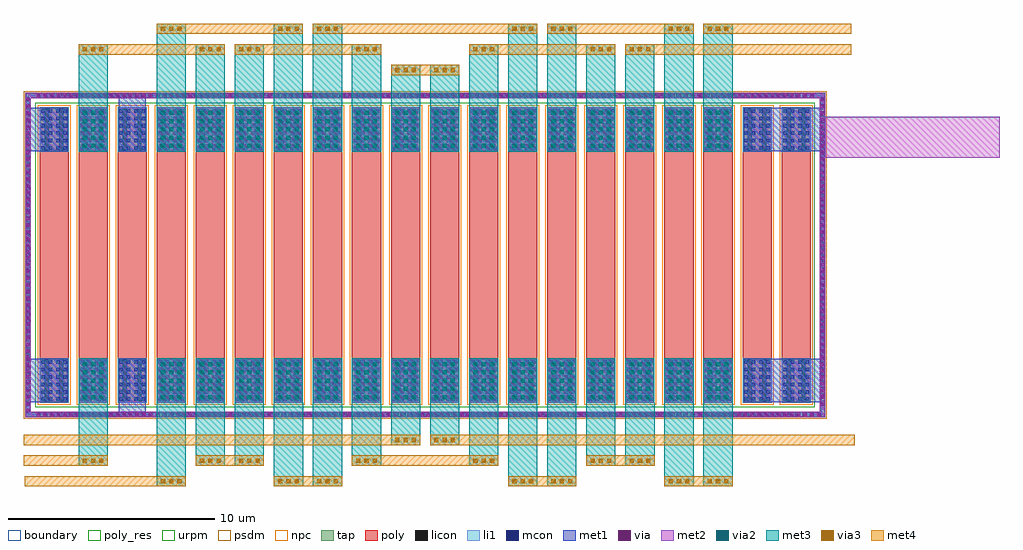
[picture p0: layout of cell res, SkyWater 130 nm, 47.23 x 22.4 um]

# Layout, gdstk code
import gdstk
lib = gdstk.Library(unit=1e-6, precision=1e-09)
def R(c, l, rs):  # rectangles x0, y0, x1, y1
    for r in rs: c.add(gdstk.rectangle(r[:2], r[2:], *l))
def A(c, l, x, y, w, h, nx, ny, dx, dy):  # array of equal rectangles
    R(c, l, [(x+i*dx, y+j*dy, x+i*dx+w, y+j*dy+h) for i in range(nx) for j in range(ny)])
def P(c, l, *ps):  # polygons
    for p in ps: c.add(gdstk.Polygon(p, *l))
tap = (65, 44)
poly_res = (66, 13)
poly = (66, 20)
licon = (66, 44)
li1 = (67, 20)
mcon = (67, 44)
met1 = (68, 20)
via = (68, 44)
met2 = (69, 20)
via2 = (69, 44)
met3 = (70, 20)
via3 = (70, 44)
met4 = (71, 20)
urpm = (79, 20)
psdm = (94, 20)
npc = (95, 20)
boundary = (235, 4)

res = lib.new_cell('res')
R(res, tap, [(-0.135,0.015,38.485,0.185), (-0.135,0.185,0.035,15.465), (38.315,0.185,38.485,15.465), (-0.135,15.465,38.485,15.635)])
A(res, poly_res, 0.515, 2.765, 1.41, 10.12, 20, 1, 1.89, 0)
A(res, poly, 0.515, 0.665, 1.41, 14.32, 20, 1, 1.89, 0)
A(res, licon, 0.39, 0.015, 0.17, 0.17, 111, 2, 0.34, 15.45)
A(res, licon, -0.135, 0.6, 0.17, 0.17, 1, 43, 0, 0.34)
A(res, licon, 38.315, 0.6, 0.17, 0.17, 1, 43, 0, 0.34)
R(res, licon, [(0.77,0.745,0.96,2.745), (1.48,0.745,1.67,2.745), (2.66,0.745,2.85,2.745), (3.37,0.745,3.56,2.745), (4.55,0.745,4.74,2.745), (5.26,0.745,5.45,2.745), (6.44,0.745,6.63,2.745), (7.15,0.745,7.34,2.745), (8.33,0.745,8.52,2.745), (9.04,0.745,9.23,2.745), (10.22,0.745,10.41,2.745), (10.93,0.745,11.12,2.745), (12.11,0.745,12.3,2.745), (12.82,0.745,13.01,2.745), (14,0.745,14.19,2.745), (14.71,0.745,14.9,2.745), (15.89,0.745,16.08,2.745), (16.6,0.745,16.79,2.745), (17.78,0.745,17.97,2.745), (18.49,0.745,18.68,2.745), (19.67,0.745,19.86,2.745), (20.38,0.745,20.57,2.745), (21.56,0.745,21.75,2.745), (22.27,0.745,22.46,2.745), (23.45,0.745,23.64,2.745), (24.16,0.745,24.35,2.745), (25.34,0.745,25.53,2.745), (26.05,0.745,26.24,2.745), (27.23,0.745,27.42,2.745), (27.94,0.745,28.13,2.745), (29.12,0.745,29.31,2.745), (29.83,0.745,30.02,2.745), (31.01,0.745,31.2,2.745), (31.72,0.745,31.91,2.745), (32.9,0.745,33.09,2.745), (33.61,0.745,33.8,2.745), (34.79,0.745,34.98,2.745), (35.5,0.745,35.69,2.745), (36.68,0.745,36.87,2.745), (37.39,0.745,37.58,2.745), (0.77,12.905,0.96,14.905), (1.48,12.905,1.67,14.905), (2.66,12.905,2.85,14.905), (3.37,12.905,3.56,14.905), (4.55,12.905,4.74,14.905), (5.26,12.905,5.45,14.905), (6.44,12.905,6.63,14.905), (7.15,12.905,7.34,14.905), (8.33,12.905,8.52,14.905), (9.04,12.905,9.23,14.905), (10.22,12.905,10.41,14.905), (10.93,12.905,11.12,14.905), (12.11,12.905,12.3,14.905), (12.82,12.905,13.01,14.905), (14,12.905,14.19,14.905), (14.71,12.905,14.9,14.905), (15.89,12.905,16.08,14.905), (16.6,12.905,16.79,14.905), (17.78,12.905,17.97,14.905), (18.49,12.905,18.68,14.905), (19.67,12.905,19.86,14.905), (20.38,12.905,20.57,14.905), (21.56,12.905,21.75,14.905), (22.27,12.905,22.46,14.905), (23.45,12.905,23.64,14.905), (24.16,12.905,24.35,14.905), (25.34,12.905,25.53,14.905), (26.05,12.905,26.24,14.905), (27.23,12.905,27.42,14.905), (27.94,12.905,28.13,14.905), (29.12,12.905,29.31,14.905), (29.83,12.905,30.02,14.905), (31.01,12.905,31.2,14.905), (31.72,12.905,31.91,14.905), (32.9,12.905,33.09,14.905), (33.61,12.905,33.8,14.905), (34.79,12.905,34.98,14.905), (35.5,12.905,35.69,14.905), (36.68,12.905,36.87,14.905), (37.39,12.905,37.58,14.905)])
A(res, li1, 0.515, 0.665, 1.41, 2.16, 20, 2, 1.89, 12.16)
R(res, li1, [(-0.135,0.015,38.485,0.185), (-0.135,0.185,0.035,15.465), (38.315,0.185,38.485,15.465), (-0.135,15.465,38.485,15.635)])
A(res, mcon, 0.37, 0.015, 0.17, 0.17, 106, 1, 0.36, 0)
A(res, mcon, -0.135, 0.18, 0.17, 0.17, 1, 43, 0, 0.36)
A(res, mcon, 38.315, 0.54, 0.17, 0.17, 1, 42, 0, 0.36)
A(res, mcon, 0.595, 0.76, 0.17, 0.17, 4, 6, 0.36, 0.36)
A(res, mcon, 2.485, 0.76, 0.17, 0.17, 4, 6, 0.36, 0.36)
A(res, mcon, 4.375, 0.76, 0.17, 0.17, 4, 6, 0.36, 0.36)
A(res, mcon, 6.265, 0.76, 0.17, 0.17, 4, 6, 0.36, 0.36)
A(res, mcon, 8.155, 0.76, 0.17, 0.17, 4, 6, 0.36, 0.36)
A(res, mcon, 10.045, 0.76, 0.17, 0.17, 4, 6, 0.36, 0.36)
A(res, mcon, 11.935, 0.76, 0.17, 0.17, 4, 6, 0.36, 0.36)
A(res, mcon, 13.825, 0.76, 0.17, 0.17, 4, 6, 0.36, 0.36)
A(res, mcon, 15.715, 0.76, 0.17, 0.17, 4, 6, 0.36, 0.36)
A(res, mcon, 17.605, 0.76, 0.17, 0.17, 4, 6, 0.36, 0.36)
A(res, mcon, 19.495, 0.76, 0.17, 0.17, 4, 6, 0.36, 0.36)
A(res, mcon, 21.385, 0.76, 0.17, 0.17, 4, 6, 0.36, 0.36)
A(res, mcon, 23.275, 0.76, 0.17, 0.17, 4, 6, 0.36, 0.36)
A(res, mcon, 25.165, 0.76, 0.17, 0.17, 4, 6, 0.36, 0.36)
A(res, mcon, 27.055, 0.76, 0.17, 0.17, 4, 6, 0.36, 0.36)
A(res, mcon, 28.945, 0.76, 0.17, 0.17, 4, 6, 0.36, 0.36)
A(res, mcon, 30.835, 0.76, 0.17, 0.17, 4, 6, 0.36, 0.36)
A(res, mcon, 32.725, 0.76, 0.17, 0.17, 4, 6, 0.36, 0.36)
A(res, mcon, 34.615, 0.76, 0.17, 0.17, 4, 6, 0.36, 0.36)
A(res, mcon, 36.505, 0.76, 0.17, 0.17, 4, 6, 0.36, 0.36)
A(res, mcon, 0.595, 12.915, 0.17, 0.17, 4, 6, 0.36, 0.36)
A(res, mcon, 2.485, 12.915, 0.17, 0.17, 4, 6, 0.36, 0.36)
A(res, mcon, 4.375, 12.915, 0.17, 0.17, 4, 6, 0.36, 0.36)
A(res, mcon, 6.265, 12.915, 0.17, 0.17, 4, 6, 0.36, 0.36)
A(res, mcon, 8.155, 12.915, 0.17, 0.17, 4, 6, 0.36, 0.36)
A(res, mcon, 10.045, 12.915, 0.17, 0.17, 4, 6, 0.36, 0.36)
A(res, mcon, 11.935, 12.915, 0.17, 0.17, 4, 6, 0.36, 0.36)
A(res, mcon, 13.825, 12.915, 0.17, 0.17, 4, 6, 0.36, 0.36)
A(res, mcon, 15.715, 12.915, 0.17, 0.17, 4, 6, 0.36, 0.36)
A(res, mcon, 17.605, 12.915, 0.17, 0.17, 4, 6, 0.36, 0.36)
A(res, mcon, 19.495, 12.915, 0.17, 0.17, 4, 6, 0.36, 0.36)
A(res, mcon, 21.385, 12.915, 0.17, 0.17, 4, 6, 0.36, 0.36)
A(res, mcon, 23.275, 12.915, 0.17, 0.17, 4, 6, 0.36, 0.36)
A(res, mcon, 25.165, 12.915, 0.17, 0.17, 4, 6, 0.36, 0.36)
A(res, mcon, 27.055, 12.915, 0.17, 0.17, 4, 6, 0.36, 0.36)
A(res, mcon, 28.945, 12.915, 0.17, 0.17, 4, 6, 0.36, 0.36)
A(res, mcon, 30.835, 12.915, 0.17, 0.17, 4, 6, 0.36, 0.36)
A(res, mcon, 32.725, 12.915, 0.17, 0.17, 4, 6, 0.36, 0.36)
A(res, mcon, 34.615, 12.915, 0.17, 0.17, 4, 6, 0.36, 0.36)
A(res, mcon, 36.505, 12.915, 0.17, 0.17, 4, 6, 0.36, 0.36)
A(res, mcon, 0.37, 15.465, 0.17, 0.17, 105, 1, 0.36, 0)
A(res, met1, 6.235, 0.695, 1.31, 2.105, 15, 2, 1.89, 12.155)
R(res, met1, [(4.345,0.116,5.655,2.8), (-0.18,0.695,1.875,2.8), (2.455,0.695,3.765,2.8), (34.585,0.695,37.431,2.8), (36.475,0.695,38.53,2.8), (-0.18,12.85,1.875,14.955), (2.455,12.85,3.765,14.955), (4.345,12.85,5.655,15.546), (34.585,12.85,37.48,14.955), (36.475,12.85,38.53,14.955)])
A(res, via, 0.38, 0.025, 0.15, 0.15, 119, 1, 0.32, 0)
A(res, via, -0.125, 0.23, 0.15, 0.15, 1, 48, 0, 0.32)
A(res, via, 38.325, 0.55, 0.15, 0.15, 1, 47, 0, 0.32)
A(res, via, 2.555, 0.87, 0.15, 0.15, 4, 6, 0.32, 0.32)
A(res, via, 6.335, 0.87, 0.15, 0.15, 4, 6, 0.32, 0.32)
A(res, via, 8.225, 0.87, 0.15, 0.15, 4, 6, 0.32, 0.32)
A(res, via, 10.115, 0.87, 0.15, 0.15, 4, 6, 0.32, 0.32)
A(res, via, 12.005, 0.87, 0.15, 0.15, 4, 6, 0.32, 0.32)
A(res, via, 13.895, 0.87, 0.15, 0.15, 4, 6, 0.32, 0.32)
A(res, via, 15.785, 0.87, 0.15, 0.15, 4, 6, 0.32, 0.32)
A(res, via, 17.675, 0.87, 0.15, 0.15, 4, 6, 0.32, 0.32)
A(res, via, 19.565, 0.87, 0.15, 0.15, 4, 6, 0.32, 0.32)
A(res, via, 21.455, 0.87, 0.15, 0.15, 4, 6, 0.32, 0.32)
A(res, via, 23.345, 0.87, 0.15, 0.15, 4, 6, 0.32, 0.32)
A(res, via, 25.235, 0.87, 0.15, 0.15, 4, 6, 0.32, 0.32)
A(res, via, 27.125, 0.87, 0.15, 0.15, 4, 6, 0.32, 0.32)
A(res, via, 29.015, 0.87, 0.15, 0.15, 4, 6, 0.32, 0.32)
A(res, via, 30.905, 0.87, 0.15, 0.15, 4, 6, 0.32, 0.32)
A(res, via, 32.795, 0.87, 0.15, 0.15, 4, 6, 0.32, 0.32)
A(res, via, 2.555, 13.03, 0.15, 0.15, 4, 6, 0.32, 0.32)
A(res, via, 6.335, 13.03, 0.15, 0.15, 4, 6, 0.32, 0.32)
A(res, via, 8.225, 13.03, 0.15, 0.15, 4, 6, 0.32, 0.32)
A(res, via, 10.115, 13.03, 0.15, 0.15, 4, 6, 0.32, 0.32)
A(res, via, 12.005, 13.03, 0.15, 0.15, 4, 6, 0.32, 0.32)
A(res, via, 13.895, 13.03, 0.15, 0.15, 4, 6, 0.32, 0.32)
A(res, via, 15.785, 13.03, 0.15, 0.15, 4, 6, 0.32, 0.32)
A(res, via, 17.675, 13.03, 0.15, 0.15, 4, 6, 0.32, 0.32)
A(res, via, 19.565, 13.03, 0.15, 0.15, 4, 6, 0.32, 0.32)
A(res, via, 21.455, 13.03, 0.15, 0.15, 4, 6, 0.32, 0.32)
A(res, via, 23.345, 13.03, 0.15, 0.15, 4, 6, 0.32, 0.32)
A(res, via, 25.235, 13.03, 0.15, 0.15, 4, 6, 0.32, 0.32)
A(res, via, 27.125, 13.03, 0.15, 0.15, 4, 6, 0.32, 0.32)
A(res, via, 29.015, 13.03, 0.15, 0.15, 4, 6, 0.32, 0.32)
A(res, via, 30.905, 13.03, 0.15, 0.15, 4, 6, 0.32, 0.32)
A(res, via, 32.795, 13.03, 0.15, 0.15, 4, 6, 0.32, 0.32)
A(res, via, 0.38, 15.475, 0.15, 0.15, 118, 1, 0.32, 0)
R(res, met2, [(-0.18,15.42,38.53,15.68)])
A(res, via2, 2.61, 0.845, 0.2, 0.2, 3, 5, 0.4, 0.4)
A(res, via2, 6.39, 0.845, 0.2, 0.2, 3, 5, 0.4, 0.4)
A(res, via2, 8.28, 0.845, 0.2, 0.2, 3, 5, 0.4, 0.4)
A(res, via2, 10.17, 0.845, 0.2, 0.2, 3, 5, 0.4, 0.4)
A(res, via2, 12.06, 0.845, 0.2, 0.2, 3, 5, 0.4, 0.4)
A(res, via2, 13.95, 0.845, 0.2, 0.2, 3, 5, 0.4, 0.4)
A(res, via2, 15.84, 0.845, 0.2, 0.2, 3, 5, 0.4, 0.4)
A(res, via2, 17.73, 0.845, 0.2, 0.2, 3, 5, 0.4, 0.4)
A(res, via2, 19.62, 0.845, 0.2, 0.2, 3, 5, 0.4, 0.4)
A(res, via2, 21.51, 0.845, 0.2, 0.2, 3, 5, 0.4, 0.4)
A(res, via2, 23.4, 0.845, 0.2, 0.2, 3, 5, 0.4, 0.4)
A(res, via2, 25.29, 0.845, 0.2, 0.2, 3, 5, 0.4, 0.4)
A(res, via2, 27.18, 0.845, 0.2, 0.2, 3, 5, 0.4, 0.4)
A(res, via2, 29.07, 0.845, 0.2, 0.2, 3, 5, 0.4, 0.4)
A(res, via2, 30.96, 0.845, 0.2, 0.2, 3, 5, 0.4, 0.4)
A(res, via2, 32.85, 0.845, 0.2, 0.2, 3, 5, 0.4, 0.4)
A(res, via2, 2.61, 13.005, 0.2, 0.2, 3, 5, 0.4, 0.4)
A(res, via2, 6.39, 13.005, 0.2, 0.2, 3, 5, 0.4, 0.4)
A(res, via2, 8.28, 13.005, 0.2, 0.2, 3, 5, 0.4, 0.4)
A(res, via2, 10.17, 13.005, 0.2, 0.2, 3, 5, 0.4, 0.4)
A(res, via2, 12.06, 13.005, 0.2, 0.2, 3, 5, 0.4, 0.4)
A(res, via2, 13.95, 13.005, 0.2, 0.2, 3, 5, 0.4, 0.4)
A(res, via2, 15.84, 13.005, 0.2, 0.2, 3, 5, 0.4, 0.4)
A(res, via2, 17.73, 13.005, 0.2, 0.2, 3, 5, 0.4, 0.4)
A(res, via2, 19.62, 13.005, 0.2, 0.2, 3, 5, 0.4, 0.4)
A(res, via2, 21.51, 13.005, 0.2, 0.2, 3, 5, 0.4, 0.4)
A(res, via2, 23.4, 13.005, 0.2, 0.2, 3, 5, 0.4, 0.4)
A(res, via2, 25.29, 13.005, 0.2, 0.2, 3, 5, 0.4, 0.4)
A(res, via2, 27.18, 13.005, 0.2, 0.2, 3, 5, 0.4, 0.4)
A(res, via2, 29.07, 13.005, 0.2, 0.2, 3, 5, 0.4, 0.4)
A(res, via2, 30.96, 13.005, 0.2, 0.2, 3, 5, 0.4, 0.4)
A(res, via2, 32.85, 13.005, 0.2, 0.2, 3, 5, 0.4, 0.4)
A(res, met3, 9.965, -2.376, 1.411, 3.041, 4, 1, 5.67, 0)
A(res, met3, 9.965, 14.985, 1.41, 3.041, 4, 1, 5.67, 0)
R(res, met3, [(6.185,-3.376,7.596,0.665), (11.855,-3.376,13.266,0.665), (13.745,-3.376,15.156,0.665), (23.195,-3.376,24.606,0.665), (25.085,-3.376,26.496,0.665), (30.755,-3.376,32.166,0.665), (32.645,-3.376,34.056,0.665), (8.075,-2.376,9.486,0.665), (28.865,-2.376,30.276,0.665), (17.525,-1.376,18.936,1.665), (19.415,-1.376,20.826,1.665), (17.525,13.985,18.935,17.026), (19.415,13.985,20.825,17.026), (2.405,14.985,3.815,18.026), (6.185,14.985,7.595,19.026), (8.075,14.985,9.485,18.026), (11.855,14.985,13.265,19.026), (13.745,14.985,15.155,19.026), (23.195,14.985,24.605,19.026), (25.085,14.985,26.495,19.026), (28.865,14.985,30.275,18.026), (30.755,14.985,32.165,19.026), (32.645,14.985,34.055,19.026)])
P(res, met3, [(2.405,-2.376),(2.405,0.665),(3.816,0.665),(3.816,-2.376),(3.207,-2.376)])
A(res, via3, 6.391, -3.226, 0.2, 0.2, 3, 1, 0.4, 0)
A(res, via3, 12.061, -3.226, 0.2, 0.2, 3, 1, 0.4, 0)
A(res, via3, 13.951, -3.226, 0.2, 0.2, 3, 1, 0.4, 0)
A(res, via3, 23.401, -3.226, 0.2, 0.2, 3, 1, 0.4, 0)
A(res, via3, 25.291, -3.226, 0.2, 0.2, 3, 1, 0.4, 0)
A(res, via3, 30.961, -3.226, 0.2, 0.2, 3, 1, 0.4, 0)
A(res, via3, 32.851, -3.226, 0.2, 0.2, 3, 1, 0.4, 0)
A(res, via3, 2.611, -2.226, 0.2, 0.2, 3, 1, 0.4, 0)
A(res, via3, 8.281, -2.226, 0.2, 0.2, 3, 1, 0.4, 0)
A(res, via3, 10.171, -2.226, 0.2, 0.2, 3, 1, 0.4, 0)
A(res, via3, 15.841, -2.226, 0.2, 0.2, 3, 1, 0.4, 0)
A(res, via3, 21.511, -2.226, 0.2, 0.2, 3, 1, 0.4, 0)
A(res, via3, 27.181, -2.226, 0.2, 0.2, 3, 1, 0.4, 0)
A(res, via3, 29.071, -2.226, 0.2, 0.2, 3, 1, 0.4, 0)
A(res, via3, 17.731, -1.226, 0.2, 0.2, 3, 1, 0.4, 0)
A(res, via3, 19.621, -1.226, 0.2, 0.2, 3, 1, 0.4, 0)
A(res, via3, 17.73, 16.676, 0.2, 0.2, 3, 1, 0.4, 0)
A(res, via3, 19.62, 16.676, 0.2, 0.2, 3, 1, 0.4, 0)
A(res, via3, 2.61, 17.676, 0.2, 0.2, 3, 1, 0.4, 0)
A(res, via3, 8.28, 17.676, 0.2, 0.2, 3, 1, 0.4, 0)
A(res, via3, 10.17, 17.676, 0.2, 0.2, 3, 1, 0.4, 0)
A(res, via3, 15.84, 17.676, 0.2, 0.2, 3, 1, 0.4, 0)
A(res, via3, 21.51, 17.676, 0.2, 0.2, 3, 1, 0.4, 0)
A(res, via3, 27.18, 17.676, 0.2, 0.2, 3, 1, 0.4, 0)
A(res, via3, 29.07, 17.676, 0.2, 0.2, 3, 1, 0.4, 0)
A(res, via3, 6.39, 18.676, 0.2, 0.2, 3, 1, 0.4, 0)
A(res, via3, 12.06, 18.676, 0.2, 0.2, 3, 1, 0.4, 0)
A(res, via3, 13.95, 18.676, 0.2, 0.2, 3, 1, 0.4, 0)
A(res, via3, 23.4, 18.676, 0.2, 0.2, 3, 1, 0.4, 0)
A(res, via3, 25.29, 18.676, 0.2, 0.2, 3, 1, 0.4, 0)
A(res, via3, 30.96, 18.676, 0.2, 0.2, 3, 1, 0.4, 0)
A(res, via3, 32.85, 18.676, 0.2, 0.2, 3, 1, 0.4, 0)
R(res, urpm, [(0.315,0.465,38.035,15.185)])
R(res, psdm, [(-0.26,-0.11,38.61,15.76)])
A(res, npc, 0.42, 0.57, 1.6, 14.51, 20, 1, 1.89, 0)
R(res, boundary, [(-0.05,0.1,38.4,15.55)])
res.add(gdstk.FlexPath([(33.35,2.825),(33.35,0.665)], 1.41, ends="flush", simple_path=True, layer=68, datatype=20))  # met1
res.add(gdstk.FlexPath([(31.46,2.825),(31.46,0.665)], 1.41, ends="flush", simple_path=True, layer=68, datatype=20))  # met1
res.add(gdstk.FlexPath([(29.57,2.825),(29.57,0.665)], 1.41, ends="flush", simple_path=True, layer=68, datatype=20))  # met1
res.add(gdstk.FlexPath([(27.68,2.825),(27.68,0.665)], 1.41, ends="flush", simple_path=True, layer=68, datatype=20))  # met1
res.add(gdstk.FlexPath([(25.79,2.825),(25.79,0.665)], 1.41, ends="flush", simple_path=True, layer=68, datatype=20))  # met1
res.add(gdstk.FlexPath([(23.9,2.825),(23.9,0.665)], 1.41, ends="flush", simple_path=True, layer=68, datatype=20))  # met1
res.add(gdstk.FlexPath([(22.01,2.825),(22.01,0.665)], 1.41, ends="flush", simple_path=True, layer=68, datatype=20))  # met1
res.add(gdstk.FlexPath([(20.12,2.825),(20.12,0.665)], 1.41, ends="flush", simple_path=True, layer=68, datatype=20))  # met1
res.add(gdstk.FlexPath([(18.23,2.825),(18.23,0.665)], 1.41, ends="flush", simple_path=True, layer=68, datatype=20))  # met1
res.add(gdstk.FlexPath([(16.34,2.825),(16.34,0.665)], 1.41, ends="flush", simple_path=True, layer=68, datatype=20))  # met1
res.add(gdstk.FlexPath([(14.45,2.825),(14.45,0.665)], 1.41, ends="flush", simple_path=True, layer=68, datatype=20))  # met1
res.add(gdstk.FlexPath([(12.56,2.825),(12.56,0.665)], 1.41, ends="flush", simple_path=True, layer=68, datatype=20))  # met1
res.add(gdstk.FlexPath([(10.67,2.825),(10.67,0.665)], 1.41, ends="flush", simple_path=True, layer=68, datatype=20))  # met1
res.add(gdstk.FlexPath([(8.78,2.825),(8.78,0.665)], 1.41, ends="flush", simple_path=True, layer=68, datatype=20))  # met1
res.add(gdstk.FlexPath([(6.89,2.825),(6.89,0.665)], 1.41, ends="flush", simple_path=True, layer=68, datatype=20))  # met1
res.add(gdstk.FlexPath([(3.11,2.825),(3.11,0.665)], 1.41, ends="flush", simple_path=True, layer=68, datatype=20))  # met1
res.add(gdstk.FlexPath([(33.35,14.985),(33.35,12.825)], 1.41, ends="flush", simple_path=True, layer=68, datatype=20))  # met1
res.add(gdstk.FlexPath([(31.46,14.985),(31.46,12.825)], 1.41, ends="flush", simple_path=True, layer=68, datatype=20))  # met1
res.add(gdstk.FlexPath([(29.57,14.985),(29.57,12.825)], 1.41, ends="flush", simple_path=True, layer=68, datatype=20))  # met1
res.add(gdstk.FlexPath([(27.68,14.985),(27.68,12.825)], 1.41, ends="flush", simple_path=True, layer=68, datatype=20))  # met1
res.add(gdstk.FlexPath([(25.79,14.985),(25.79,12.825)], 1.41, ends="flush", simple_path=True, layer=68, datatype=20))  # met1
res.add(gdstk.FlexPath([(23.9,14.985),(23.9,12.825)], 1.41, ends="flush", simple_path=True, layer=68, datatype=20))  # met1
res.add(gdstk.FlexPath([(22.01,14.985),(22.01,12.825)], 1.41, ends="flush", simple_path=True, layer=68, datatype=20))  # met1
res.add(gdstk.FlexPath([(20.12,14.985),(20.12,12.825)], 1.41, ends="flush", simple_path=True, layer=68, datatype=20))  # met1
res.add(gdstk.FlexPath([(18.23,14.985),(18.23,12.825)], 1.41, ends="flush", simple_path=True, layer=68, datatype=20))  # met1
res.add(gdstk.FlexPath([(16.34,14.985),(16.34,12.825)], 1.41, ends="flush", simple_path=True, layer=68, datatype=20))  # met1
res.add(gdstk.FlexPath([(14.45,14.985),(14.45,12.825)], 1.41, ends="flush", simple_path=True, layer=68, datatype=20))  # met1
res.add(gdstk.FlexPath([(12.56,14.985),(12.56,12.825)], 1.41, ends="flush", simple_path=True, layer=68, datatype=20))  # met1
res.add(gdstk.FlexPath([(10.67,14.985),(10.67,12.825)], 1.41, ends="flush", simple_path=True, layer=68, datatype=20))  # met1
res.add(gdstk.FlexPath([(8.78,14.985),(8.78,12.825)], 1.41, ends="flush", simple_path=True, layer=68, datatype=20))  # met1
res.add(gdstk.FlexPath([(6.89,14.985),(6.89,12.825)], 1.41, ends="flush", simple_path=True, layer=68, datatype=20))  # met1
res.add(gdstk.FlexPath([(3.11,14.985),(3.11,12.825)], 1.41, ends="flush", simple_path=True, layer=68, datatype=20))  # met1
res.add(gdstk.FlexPath([(-0.18,0.1),(38.53,0.1)], 0.26, ends="flush", simple_path=True, layer=68, datatype=20))  # met1
res.add(gdstk.FlexPath([(-0.18,15.55),(38.53,15.55)], 0.26, ends="flush", simple_path=True, layer=68, datatype=20))  # met1
res.add(gdstk.FlexPath([(-0.05,15.635),(-0.05,0.015)], 0.26, ends="flush", simple_path=True, layer=68, datatype=20))  # met1
res.add(gdstk.FlexPath([(38.4,15.635),(38.4,0.015)], 0.26, ends="flush", simple_path=True, layer=68, datatype=20))  # met1
res.add(gdstk.FlexPath([(33.35,2.825),(33.35,0.665)], 1.41, ends="flush", simple_path=True, layer=69, datatype=20))  # met2
res.add(gdstk.FlexPath([(31.46,2.825),(31.46,0.665)], 1.41, ends="flush", simple_path=True, layer=69, datatype=20))  # met2
res.add(gdstk.FlexPath([(29.57,2.825),(29.57,0.665)], 1.41, ends="flush", simple_path=True, layer=69, datatype=20))  # met2
res.add(gdstk.FlexPath([(27.68,2.825),(27.68,0.665)], 1.41, ends="flush", simple_path=True, layer=69, datatype=20))  # met2
res.add(gdstk.FlexPath([(25.79,2.825),(25.79,0.665)], 1.41, ends="flush", simple_path=True, layer=69, datatype=20))  # met2
res.add(gdstk.FlexPath([(23.9,2.825),(23.9,0.665)], 1.41, ends="flush", simple_path=True, layer=69, datatype=20))  # met2
res.add(gdstk.FlexPath([(22.01,2.825),(22.01,0.665)], 1.41, ends="flush", simple_path=True, layer=69, datatype=20))  # met2
res.add(gdstk.FlexPath([(20.12,2.825),(20.12,0.665)], 1.41, ends="flush", simple_path=True, layer=69, datatype=20))  # met2
res.add(gdstk.FlexPath([(18.23,2.825),(18.23,0.665)], 1.41, ends="flush", simple_path=True, layer=69, datatype=20))  # met2
res.add(gdstk.FlexPath([(16.34,2.825),(16.34,0.665)], 1.41, ends="flush", simple_path=True, layer=69, datatype=20))  # met2
res.add(gdstk.FlexPath([(14.45,2.825),(14.45,0.665)], 1.41, ends="flush", simple_path=True, layer=69, datatype=20))  # met2
res.add(gdstk.FlexPath([(12.56,2.825),(12.56,0.665)], 1.41, ends="flush", simple_path=True, layer=69, datatype=20))  # met2
res.add(gdstk.FlexPath([(10.67,2.825),(10.67,0.665)], 1.41, ends="flush", simple_path=True, layer=69, datatype=20))  # met2
res.add(gdstk.FlexPath([(8.78,2.825),(8.78,0.665)], 1.41, ends="flush", simple_path=True, layer=69, datatype=20))  # met2
res.add(gdstk.FlexPath([(6.89,2.825),(6.89,0.665)], 1.41, ends="flush", simple_path=True, layer=69, datatype=20))  # met2
res.add(gdstk.FlexPath([(3.11,2.825),(3.11,0.665)], 1.41, ends="flush", simple_path=True, layer=69, datatype=20))  # met2
res.add(gdstk.FlexPath([(33.35,14.985),(33.35,12.825)], 1.41, ends="flush", simple_path=True, layer=69, datatype=20))  # met2
res.add(gdstk.FlexPath([(31.46,14.985),(31.46,12.825)], 1.41, ends="flush", simple_path=True, layer=69, datatype=20))  # met2
res.add(gdstk.FlexPath([(29.57,14.985),(29.57,12.825)], 1.41, ends="flush", simple_path=True, layer=69, datatype=20))  # met2
res.add(gdstk.FlexPath([(27.68,14.985),(27.68,12.825)], 1.41, ends="flush", simple_path=True, layer=69, datatype=20))  # met2
res.add(gdstk.FlexPath([(25.79,14.985),(25.79,12.825)], 1.41, ends="flush", simple_path=True, layer=69, datatype=20))  # met2
res.add(gdstk.FlexPath([(23.9,14.985),(23.9,12.825)], 1.41, ends="flush", simple_path=True, layer=69, datatype=20))  # met2
res.add(gdstk.FlexPath([(22.01,14.985),(22.01,12.825)], 1.41, ends="flush", simple_path=True, layer=69, datatype=20))  # met2
res.add(gdstk.FlexPath([(20.12,14.985),(20.12,12.825)], 1.41, ends="flush", simple_path=True, layer=69, datatype=20))  # met2
res.add(gdstk.FlexPath([(18.23,14.985),(18.23,12.825)], 1.41, ends="flush", simple_path=True, layer=69, datatype=20))  # met2
res.add(gdstk.FlexPath([(16.34,14.985),(16.34,12.825)], 1.41, ends="flush", simple_path=True, layer=69, datatype=20))  # met2
res.add(gdstk.FlexPath([(14.45,14.985),(14.45,12.825)], 1.41, ends="flush", simple_path=True, layer=69, datatype=20))  # met2
res.add(gdstk.FlexPath([(12.56,14.985),(12.56,12.825)], 1.41, ends="flush", simple_path=True, layer=69, datatype=20))  # met2
res.add(gdstk.FlexPath([(10.67,14.985),(10.67,12.825)], 1.41, ends="flush", simple_path=True, layer=69, datatype=20))  # met2
res.add(gdstk.FlexPath([(8.78,14.985),(8.78,12.825)], 1.41, ends="flush", simple_path=True, layer=69, datatype=20))  # met2
res.add(gdstk.FlexPath([(6.89,14.985),(6.89,12.825)], 1.41, ends="flush", simple_path=True, layer=69, datatype=20))  # met2
res.add(gdstk.FlexPath([(3.11,14.985),(3.11,12.825)], 1.41, ends="flush", simple_path=True, layer=69, datatype=20))  # met2
res.add(gdstk.FlexPath([(-0.18,0.1),(38.53,0.1)], 0.26, ends="flush", simple_path=True, layer=69, datatype=20))  # met2
res.add(gdstk.FlexPath([(-0.05,15.635),(-0.05,0.015)], 0.26, ends="flush", simple_path=True, layer=69, datatype=20))  # met2
res.add(gdstk.FlexPath([(38.4,15.635),(38.4,0.015)], 0.26, ends="flush", simple_path=True, layer=69, datatype=20))  # met2
res.add(gdstk.FlexPath([(38.271,13.525),(46.971,13.525)], 2, ends="flush", simple_path=True, layer=69, datatype=20))  # met2
res.add(gdstk.FlexPath([(20.826,-1.126),(19.416,-1.126)], 0.5, ends="flush", simple_path=True, layer=70, datatype=20))  # met3
res.add(gdstk.FlexPath([(18.936,-1.126),(17.526,-1.126)], 0.5, ends="flush", simple_path=True, layer=70, datatype=20))  # met3
res.add(gdstk.FlexPath([(17.046,-2.126),(15.636,-2.126)], 0.5, ends="flush", simple_path=True, layer=70, datatype=20))  # met3
res.add(gdstk.FlexPath([(19.415,16.776),(20.825,16.776)], 0.5, ends="flush", simple_path=True, layer=70, datatype=20))  # met3
res.add(gdstk.FlexPath([(17.525,16.776),(18.935,16.776)], 0.5, ends="flush", simple_path=True, layer=70, datatype=20))  # met3
res.add(gdstk.FlexPath([(7.596,-3.126),(6.186,-3.126)], 0.5, ends="flush", simple_path=True, layer=70, datatype=20))  # met3
res.add(gdstk.FlexPath([(32.645,18.776),(34.055,18.776)], 0.5, ends="flush", simple_path=True, layer=70, datatype=20))  # met3
res.add(gdstk.FlexPath([(34.056,-3.126),(32.646,-3.126)], 0.5, ends="flush", simple_path=True, layer=70, datatype=20))  # met3
res.add(gdstk.FlexPath([(32.166,-3.126),(30.756,-3.126)], 0.5, ends="flush", simple_path=True, layer=70, datatype=20))  # met3
res.add(gdstk.FlexPath([(30.755,18.776),(32.165,18.776)], 0.5, ends="flush", simple_path=True, layer=70, datatype=20))  # met3
res.add(gdstk.FlexPath([(25.085,18.776),(26.495,18.776)], 0.5, ends="flush", simple_path=True, layer=70, datatype=20))  # met3
res.add(gdstk.FlexPath([(26.496,-3.126),(25.086,-3.126)], 0.5, ends="flush", simple_path=True, layer=70, datatype=20))  # met3
res.add(gdstk.FlexPath([(24.606,-3.126),(23.196,-3.126)], 0.5, ends="flush", simple_path=True, layer=70, datatype=20))  # met3
res.add(gdstk.FlexPath([(23.195,18.776),(24.605,18.776)], 0.5, ends="flush", simple_path=True, layer=70, datatype=20))  # met3
res.add(gdstk.FlexPath([(13.745,18.776),(15.155,18.776)], 0.5, ends="flush", simple_path=True, layer=70, datatype=20))  # met3
res.add(gdstk.FlexPath([(13.266,-3.126),(11.856,-3.126)], 0.5, ends="flush", simple_path=True, layer=70, datatype=20))  # met3
res.add(gdstk.FlexPath([(15.156,-3.126),(13.746,-3.126)], 0.5, ends="flush", simple_path=True, layer=70, datatype=20))  # met3
res.add(gdstk.FlexPath([(9.486,-2.126),(8.076,-2.126)], 0.5, ends="flush", simple_path=True, layer=70, datatype=20))  # met3
res.add(gdstk.FlexPath([(11.376,-2.126),(9.966,-2.126)], 0.5, ends="flush", simple_path=True, layer=70, datatype=20))  # met3
res.add(gdstk.FlexPath([(30.276,-2.126),(28.866,-2.126)], 0.5, ends="flush", simple_path=True, layer=70, datatype=20))  # met3
res.add(gdstk.FlexPath([(28.386,-2.126),(26.976,-2.126)], 0.5, ends="flush", simple_path=True, layer=70, datatype=20))  # met3
res.add(gdstk.FlexPath([(22.716,-2.126),(21.306,-2.126)], 0.5, ends="flush", simple_path=True, layer=70, datatype=20))  # met3
res.add(gdstk.FlexPath([(33.35,2.825),(33.35,0.665)], 1.41, ends="flush", simple_path=True, layer=70, datatype=20))  # met3
res.add(gdstk.FlexPath([(31.46,2.825),(31.46,0.665)], 1.41, ends="flush", simple_path=True, layer=70, datatype=20))  # met3
res.add(gdstk.FlexPath([(29.57,2.825),(29.57,0.665)], 1.41, ends="flush", simple_path=True, layer=70, datatype=20))  # met3
res.add(gdstk.FlexPath([(27.68,2.825),(27.68,0.665)], 1.41, ends="flush", simple_path=True, layer=70, datatype=20))  # met3
res.add(gdstk.FlexPath([(11.855,18.776),(13.265,18.776)], 0.5, ends="flush", simple_path=True, layer=70, datatype=20))  # met3
res.add(gdstk.FlexPath([(25.79,2.825),(25.79,0.665)], 1.41, ends="flush", simple_path=True, layer=70, datatype=20))  # met3
res.add(gdstk.FlexPath([(23.9,2.825),(23.9,0.665)], 1.41, ends="flush", simple_path=True, layer=70, datatype=20))  # met3
res.add(gdstk.FlexPath([(6.185,18.776),(7.595,18.776)], 0.5, ends="flush", simple_path=True, layer=70, datatype=20))  # met3
res.add(gdstk.FlexPath([(22.01,2.825),(22.01,0.665)], 1.41, ends="flush", simple_path=True, layer=70, datatype=20))  # met3
res.add(gdstk.FlexPath([(20.12,2.825),(20.12,0.665)], 1.41, ends="flush", simple_path=True, layer=70, datatype=20))  # met3
res.add(gdstk.FlexPath([(18.23,2.825),(18.23,0.665)], 1.41, ends="flush", simple_path=True, layer=70, datatype=20))  # met3
res.add(gdstk.FlexPath([(16.34,2.825),(16.34,0.665)], 1.41, ends="flush", simple_path=True, layer=70, datatype=20))  # met3
res.add(gdstk.FlexPath([(14.45,2.825),(14.45,0.665)], 1.41, ends="flush", simple_path=True, layer=70, datatype=20))  # met3
res.add(gdstk.FlexPath([(12.56,2.825),(12.56,0.665)], 1.41, ends="flush", simple_path=True, layer=70, datatype=20))  # met3
res.add(gdstk.FlexPath([(10.67,2.825),(10.67,0.665)], 1.41, ends="flush", simple_path=True, layer=70, datatype=20))  # met3
res.add(gdstk.FlexPath([(8.78,2.825),(8.78,0.665)], 1.41, ends="flush", simple_path=True, layer=70, datatype=20))  # met3
res.add(gdstk.FlexPath([(6.89,2.825),(6.89,0.665)], 1.41, ends="flush", simple_path=True, layer=70, datatype=20))  # met3
res.add(gdstk.FlexPath([(3.11,2.825),(3.11,0.665)], 1.41, ends="flush", simple_path=True, layer=70, datatype=20))  # met3
res.add(gdstk.FlexPath([(28.865,17.776),(30.275,17.776)], 0.5, ends="flush", simple_path=True, layer=70, datatype=20))  # met3
res.add(gdstk.FlexPath([(26.975,17.776),(28.385,17.776)], 0.5, ends="flush", simple_path=True, layer=70, datatype=20))  # met3
res.add(gdstk.FlexPath([(21.305,17.776),(22.715,17.776)], 0.5, ends="flush", simple_path=True, layer=70, datatype=20))  # met3
res.add(gdstk.FlexPath([(15.635,17.776),(17.045,17.776)], 0.5, ends="flush", simple_path=True, layer=70, datatype=20))  # met3
res.add(gdstk.FlexPath([(9.965,17.776),(11.375,17.776)], 0.5, ends="flush", simple_path=True, layer=70, datatype=20))  # met3
res.add(gdstk.FlexPath([(8.075,17.776),(9.485,17.776)], 0.5, ends="flush", simple_path=True, layer=70, datatype=20))  # met3
res.add(gdstk.FlexPath([(33.35,14.985),(33.35,12.825)], 1.41, ends="flush", simple_path=True, layer=70, datatype=20))  # met3
res.add(gdstk.FlexPath([(31.46,14.985),(31.46,12.825)], 1.41, ends="flush", simple_path=True, layer=70, datatype=20))  # met3
res.add(gdstk.FlexPath([(29.57,14.985),(29.57,12.825)], 1.41, ends="flush", simple_path=True, layer=70, datatype=20))  # met3
res.add(gdstk.FlexPath([(27.68,14.985),(27.68,12.825)], 1.41, ends="flush", simple_path=True, layer=70, datatype=20))  # met3
res.add(gdstk.FlexPath([(25.79,14.985),(25.79,12.825)], 1.41, ends="flush", simple_path=True, layer=70, datatype=20))  # met3
res.add(gdstk.FlexPath([(23.9,14.985),(23.9,12.825)], 1.41, ends="flush", simple_path=True, layer=70, datatype=20))  # met3
res.add(gdstk.FlexPath([(22.01,14.985),(22.01,12.825)], 1.41, ends="flush", simple_path=True, layer=70, datatype=20))  # met3
res.add(gdstk.FlexPath([(20.12,14.985),(20.12,12.825)], 1.41, ends="flush", simple_path=True, layer=70, datatype=20))  # met3
res.add(gdstk.FlexPath([(18.23,14.985),(18.23,12.825)], 1.41, ends="flush", simple_path=True, layer=70, datatype=20))  # met3
res.add(gdstk.FlexPath([(16.34,14.985),(16.34,12.825)], 1.41, ends="flush", simple_path=True, layer=70, datatype=20))  # met3
res.add(gdstk.FlexPath([(14.45,14.985),(14.45,12.825)], 1.41, ends="flush", simple_path=True, layer=70, datatype=20))  # met3
res.add(gdstk.FlexPath([(12.56,14.985),(12.56,12.825)], 1.41, ends="flush", simple_path=True, layer=70, datatype=20))  # met3
res.add(gdstk.FlexPath([(10.67,14.985),(10.67,12.825)], 1.41, ends="flush", simple_path=True, layer=70, datatype=20))  # met3
res.add(gdstk.FlexPath([(8.78,14.985),(8.78,12.825)], 1.41, ends="flush", simple_path=True, layer=70, datatype=20))  # met3
res.add(gdstk.FlexPath([(6.89,14.985),(6.89,12.825)], 1.41, ends="flush", simple_path=True, layer=70, datatype=20))  # met3
res.add(gdstk.FlexPath([(3.11,14.985),(3.11,12.825)], 1.41, ends="flush", simple_path=True, layer=70, datatype=20))  # met3
res.add(gdstk.FlexPath([(2.405,17.776),(3.815,17.776)], 0.5, ends="flush", simple_path=True, layer=70, datatype=20))  # met3
res.add(gdstk.FlexPath([(3.816,-2.126),(2.406,-2.126)], 0.5, ends="flush", simple_path=True, layer=70, datatype=20))  # met3
res.add(gdstk.FlexPath([(20.826,-1.126),(19.416,-1.126)], 0.5, ends="flush", simple_path=True, layer=71, datatype=20))  # met4
res.add(gdstk.FlexPath([(18.936,-1.126),(17.526,-1.126)], 0.5, ends="flush", simple_path=True, layer=71, datatype=20))  # met4
res.add(gdstk.FlexPath([(17.046,-2.126),(15.636,-2.126)], 0.5, ends="flush", simple_path=True, layer=71, datatype=20))  # met4
res.add(gdstk.FlexPath([(19.415,16.776),(20.825,16.776)], 0.5, ends="flush", simple_path=True, layer=71, datatype=20))  # met4
res.add(gdstk.FlexPath([(17.525,16.776),(18.935,16.776)], 0.5, ends="flush", simple_path=True, layer=71, datatype=20))  # met4
res.add(gdstk.FlexPath([(7.596,-3.126),(6.186,-3.126)], 0.5, ends="flush", simple_path=True, layer=71, datatype=20))  # met4
res.add(gdstk.FlexPath([(32.645,18.776),(34.055,18.776)], 0.5, ends="flush", simple_path=True, layer=71, datatype=20))  # met4
res.add(gdstk.FlexPath([(34.056,-3.126),(32.646,-3.126)], 0.5, ends="flush", simple_path=True, layer=71, datatype=20))  # met4
res.add(gdstk.FlexPath([(32.166,-3.126),(30.756,-3.126)], 0.5, ends="flush", simple_path=True, layer=71, datatype=20))  # met4
res.add(gdstk.FlexPath([(30.755,18.776),(32.165,18.776)], 0.5, ends="flush", simple_path=True, layer=71, datatype=20))  # met4
res.add(gdstk.FlexPath([(25.085,18.776),(26.495,18.776)], 0.5, ends="flush", simple_path=True, layer=71, datatype=20))  # met4
res.add(gdstk.FlexPath([(26.496,-3.126),(25.086,-3.126)], 0.5, ends="flush", simple_path=True, layer=71, datatype=20))  # met4
res.add(gdstk.FlexPath([(24.606,-3.126),(23.196,-3.126)], 0.5, ends="flush", simple_path=True, layer=71, datatype=20))  # met4
res.add(gdstk.FlexPath([(23.195,18.776),(24.605,18.776)], 0.5, ends="flush", simple_path=True, layer=71, datatype=20))  # met4
res.add(gdstk.FlexPath([(13.745,18.776),(15.155,18.776)], 0.5, ends="flush", simple_path=True, layer=71, datatype=20))  # met4
res.add(gdstk.FlexPath([(13.266,-3.126),(11.856,-3.126)], 0.5, ends="flush", simple_path=True, layer=71, datatype=20))  # met4
res.add(gdstk.FlexPath([(15.156,-3.126),(13.746,-3.126)], 0.5, ends="flush", simple_path=True, layer=71, datatype=20))  # met4
res.add(gdstk.FlexPath([(9.486,-2.126),(8.076,-2.126)], 0.5, ends="flush", simple_path=True, layer=71, datatype=20))  # met4
res.add(gdstk.FlexPath([(11.376,-2.126),(9.966,-2.126)], 0.5, ends="flush", simple_path=True, layer=71, datatype=20))  # met4
res.add(gdstk.FlexPath([(30.276,-2.126),(28.866,-2.126)], 0.5, ends="flush", simple_path=True, layer=71, datatype=20))  # met4
res.add(gdstk.FlexPath([(28.386,-2.126),(26.976,-2.126)], 0.5, ends="flush", simple_path=True, layer=71, datatype=20))  # met4
res.add(gdstk.FlexPath([(22.716,-2.126),(21.306,-2.126)], 0.5, ends="flush", simple_path=True, layer=71, datatype=20))  # met4
res.add(gdstk.FlexPath([(11.855,18.776),(13.265,18.776)], 0.5, ends="flush", simple_path=True, layer=71, datatype=20))  # met4
res.add(gdstk.FlexPath([(6.185,18.776),(7.595,18.776)], 0.5, ends="flush", simple_path=True, layer=71, datatype=20))  # met4
res.add(gdstk.FlexPath([(28.865,17.776),(30.275,17.776)], 0.5, ends="flush", simple_path=True, layer=71, datatype=20))  # met4
res.add(gdstk.FlexPath([(26.975,17.776),(28.385,17.776)], 0.5, ends="flush", simple_path=True, layer=71, datatype=20))  # met4
res.add(gdstk.FlexPath([(21.305,17.776),(22.715,17.776)], 0.5, ends="flush", simple_path=True, layer=71, datatype=20))  # met4
res.add(gdstk.FlexPath([(15.635,17.776),(17.045,17.776)], 0.5, ends="flush", simple_path=True, layer=71, datatype=20))  # met4
res.add(gdstk.FlexPath([(9.965,17.776),(11.375,17.776)], 0.5, ends="flush", simple_path=True, layer=71, datatype=20))  # met4
res.add(gdstk.FlexPath([(8.075,17.776),(9.485,17.776)], 0.5, ends="flush", simple_path=True, layer=71, datatype=20))  # met4
res.add(gdstk.FlexPath([(2.405,17.776),(3.815,17.776)], 0.5, ends="flush", simple_path=True, layer=71, datatype=20))  # met4
res.add(gdstk.FlexPath([(3.816,-2.126),(2.406,-2.126)], 0.5, ends="flush", simple_path=True, layer=71, datatype=20))  # met4
res.add(gdstk.FlexPath([(-0.248,-1.126),(18.936,-1.126)], 0.5, ends="flush", simple_path=True, layer=71, datatype=20))  # met4
res.add(gdstk.FlexPath([(19.415,-1.126),(39.976,-1.126)], 0.5, ends="flush", simple_path=True, layer=71, datatype=20))  # met4
res.add(gdstk.FlexPath([(15.635,-2.126),(22.716,-2.126)], 0.5, ends="flush", simple_path=True, layer=71, datatype=20))  # met4
res.add(gdstk.FlexPath([(-0.208,-3.126),(7.596,-3.126)], 0.5, ends="flush", simple_path=True, layer=71, datatype=20))  # met4
res.add(gdstk.FlexPath([(17.525,16.776),(20.825,16.776)], 0.5, ends="flush", simple_path=True, layer=71, datatype=20))  # met4
res.add(gdstk.FlexPath([(-0.251,-2.126),(3.816,-2.126)], 0.5, ends="flush", simple_path=True, layer=71, datatype=20))  # met4
res.add(gdstk.FlexPath([(0.516,-2.126),(3.816,-2.126)], 0.5, ends="flush", simple_path=True, layer=71, datatype=20))  # met4
res.add(gdstk.FlexPath([(28.865,17.776),(39.802,17.776)], 0.5, ends="flush", simple_path=True, layer=71, datatype=20))  # met4
res.add(gdstk.FlexPath([(32.645,18.776),(39.795,18.776)], 0.5, ends="flush", simple_path=True, layer=71, datatype=20))  # met4
res.add(gdstk.FlexPath([(30.755,-3.126),(34.055,-3.126)], 0.5, ends="flush", simple_path=True, layer=71, datatype=20))  # met4
res.add(gdstk.FlexPath([(25.085,18.776),(32.165,18.776)], 0.5, ends="flush", simple_path=True, layer=71, datatype=20))  # met4
res.add(gdstk.FlexPath([(23.195,-3.126),(26.495,-3.126)], 0.5, ends="flush", simple_path=True, layer=71, datatype=20))  # met4
res.add(gdstk.FlexPath([(13.745,18.776),(24.605,18.776)], 0.5, ends="flush", simple_path=True, layer=71, datatype=20))  # met4
res.add(gdstk.FlexPath([(11.856,-3.126),(15.156,-3.126)], 0.5, ends="flush", simple_path=True, layer=71, datatype=20))  # met4
res.add(gdstk.FlexPath([(26.976,-2.126),(30.276,-2.126)], 0.5, ends="flush", simple_path=True, layer=71, datatype=20))  # met4
res.add(gdstk.FlexPath([(9.965,17.776),(17.045,17.776)], 0.5, ends="flush", simple_path=True, layer=71, datatype=20))  # met4
res.add(gdstk.FlexPath([(21.305,17.776),(28.385,17.776)], 0.5, ends="flush", simple_path=True, layer=71, datatype=20))  # met4
res.add(gdstk.FlexPath([(8.076,-2.126),(11.376,-2.126)], 0.5, ends="flush", simple_path=True, layer=71, datatype=20))  # met4
res.add(gdstk.FlexPath([(2.405,17.776),(9.485,17.776)], 0.5, ends="flush", simple_path=True, layer=71, datatype=20))  # met4
res.add(gdstk.FlexPath([(9.965,17.776),(17.045,17.776)], 0.5, ends="flush", simple_path=True, layer=71, datatype=20))  # met4
res.add(gdstk.FlexPath([(6.185,18.776),(13.265,18.776)], 0.5, ends="flush", simple_path=True, layer=71, datatype=20))  # met4
res.add(gdstk.FlexPath([(-0.18,0.1),(38.53,0.1)], 0.26, ends="flush", simple_path=True, layer=67, datatype=20))  # li1
res.add(gdstk.FlexPath([(-0.18,15.55),(38.53,15.55)], 0.26, ends="flush", simple_path=True, layer=67, datatype=20))  # li1
res.add(gdstk.FlexPath([(-0.05,15.635),(-0.05,0.015)], 0.26, ends="flush", simple_path=True, layer=67, datatype=20))  # li1
res.add(gdstk.FlexPath([(38.4,15.635),(38.4,0.015)], 0.26, ends="flush", simple_path=True, layer=67, datatype=20))  # li1

lib.write_gds('res.gds')
